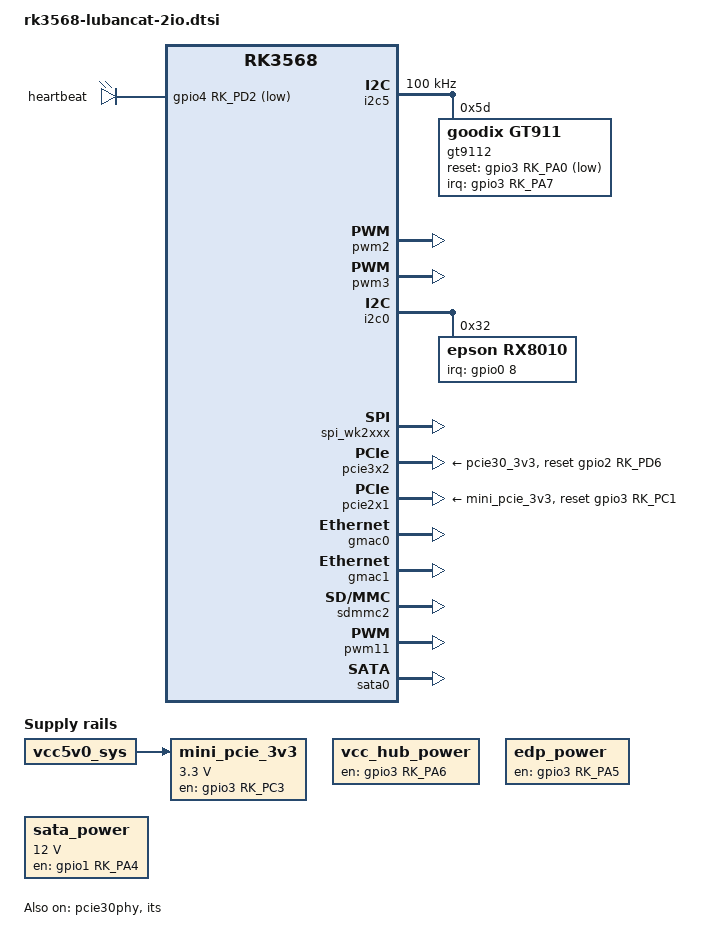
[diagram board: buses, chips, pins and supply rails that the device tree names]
// SPDX-License-Identifier: (GPL-2.0+ OR MIT)
/*
 * Copyright (c) 2020 Rockchip Electronics Co., Ltd.
 *
 */

#include "rk3568-lubancat-2m-port.dtsi"
#include "rk3568-lubancat-2io-cam.dtsi"

/ {

	vcc_hub_power: vcc-hub-power-regulator {
		compatible = "regulator-fixed";
		enable-active-high;
		gpio = <&gpio3 RK_PA6 GPIO_ACTIVE_HIGH>;
		pinctrl-names = "default";
		pinctrl-0 = <&vcc_hub_power_en>;
		regulator-name = "vcc_hub_power_en";
		regulator-always-on;
	};

	edp_power: edp-power-regulator {
		compatible = "regulator-fixed";
		enable-active-high;
		gpio = <&gpio3 RK_PA5 GPIO_ACTIVE_HIGH>;
		pinctrl-names = "default";
		pinctrl-0 = <&edp_pwr_en>;
		regulator-name = "edp_power";
		regulator-always-on;
	};

	sata_power: sata-power-regulator {
		compatible = "regulator-fixed";
		regulator-name = "sata_power";
		regulator-min-microvolt = <12000000>;
		regulator-max-microvolt = <12000000>;
		gpio = <&gpio1 RK_PA4 GPIO_ACTIVE_HIGH>;
		enable-active-high;
		regulator-boot-on;
		pinctrl-names = "default";
		pinctrl-0 = <&sata_pwr_en>;
	};

	mini_pcie_3v3: mini-pcie-3v3-regulator {
		compatible = "regulator-fixed";
		regulator-name = "minipcie_3v3";
		regulator-min-microvolt = <3300000>;
		regulator-max-microvolt = <3300000>;
		enable-active-high;
		regulator-always-on;
		gpio = <&gpio3 RK_PC3 GPIO_ACTIVE_HIGH>;
		startup-delay-us = <5000>;
		vin-supply = <&vcc5v0_sys>;
	};

	leds: leds {
		status = "okay";
		compatible = "gpio-leds";

		led0: led0 {
			label = "heartbeat";
			linux,default-trigger = "heartbeat";
			default-state = "on";
			gpios = <&gpio4 RK_PD2 GPIO_ACTIVE_LOW>;
			pinctrl-names = "default";
			pinctrl-0 = <&led0_pin>;
		};
	};

};

&i2c5 {
	status = "okay";
	clock-frequency = <100000>;

	gt9112: gt9112@5d {
		status = "okay";
		compatible = "goodix,gt911";
		reg = <0x5d>;
		interrupt-parent = <&gpio3>;
		interrupts = <RK_PA7 IRQ_TYPE_LEVEL_LOW>;
		reset-gpios = <&gpio3 RK_PA0 GPIO_ACTIVE_LOW>;
		irq-gpios = <&gpio3 RK_PA7 GPIO_ACTIVE_HIGH>;
		touchscreen-inverted-x = <1>;
		touchscreen-inverted-y = <1>;
	};		
};

&xin32k {
	status = "disabled";
};

&pwm2 {
	status = "okay";
};

&pwm3 {
	status = "okay";

	compatible = "rockchip,remotectl-pwm";
	interrupts = <GIC_SPI 82 IRQ_TYPE_LEVEL_HIGH>;
	remote_pwm_id = <3>;
	handle_cpu_id = <1>;
	remote_support_psci = <0>;
	pinctrl-names = "default";
	pinctrl-0 = <&pwm3_pins>;

	ir_key_lubancat{
		rockchip,usercode = <0x909>;
		rockchip,key_table =
			<0xf4   KEY_POWER>,
			<0xe6   KEY_SLEEP>,
			<0xe4   KEY_WAKEUP>,
			<0xed   KEY_VOLUMEUP>,
			<0xec   KEY_VOLUMEDOWN>,
			<0xef   KEY_UP>,
			<0xee   KEY_DOWN>;
	};

	ir_key1 {
		rockchip,usercode = <0x4040>;
		rockchip,key_table =
			<0xf2	KEY_REPLY>,
			<0xba	KEY_BACK>,
			<0xf4	KEY_UP>,
			<0xf1	KEY_DOWN>,
			<0xef	KEY_LEFT>,
			<0xee	KEY_RIGHT>,
			<0xbd	KEY_HOME>,
			<0xea	KEY_VOLUMEUP>,
			<0xe3	KEY_VOLUMEDOWN>,
			<0xe2	KEY_SEARCH>,
			<0xb2	KEY_POWER>,
			<0xbc	KEY_MUTE>,
			<0xec	KEY_MENU>,
			<0xbf	0x190>,
			<0xe0	0x191>,
			<0xe1	0x192>,
			<0xe9	183>,
			<0xe6	248>,
			<0xe8	185>,
			<0xe7	186>,
			<0xf0	388>,
			<0xbe	0x175>;
	};

	ir_key2 {
		rockchip,usercode = <0xff00>;
		rockchip,key_table =
			<0xf9	KEY_HOME>,
			<0xbf	KEY_BACK>,
			<0xfb	KEY_MENU>,
			<0xaa	KEY_REPLY>,
			<0xb9	KEY_UP>,
			<0xe9	KEY_DOWN>,
			<0xb8	KEY_LEFT>,
			<0xea	KEY_RIGHT>,
			<0xeb	KEY_VOLUMEDOWN>,
			<0xef	KEY_VOLUMEUP>,
			<0xf7	KEY_MUTE>,
			<0xe7	KEY_POWER>,
			<0xfc	KEY_POWER>,
			<0xa9	KEY_VOLUMEDOWN>,
			<0xa8	KEY_VOLUMEDOWN>,
			<0xe0	KEY_VOLUMEDOWN>,
			<0xa5	KEY_VOLUMEDOWN>,
			<0xab	183>,
			<0xb7	388>,
			<0xe8	388>,
			<0xf8	184>,
			<0xaf	185>,
			<0xed	KEY_VOLUMEDOWN>,
			<0xee	186>,
			<0xb3	KEY_VOLUMEDOWN>,
			<0xf1	KEY_VOLUMEDOWN>,
			<0xf2	KEY_VOLUMEDOWN>,
			<0xf3	KEY_SEARCH>,
			<0xb4	KEY_VOLUMEDOWN>,
			<0xbe	KEY_SEARCH>;
	};

	ir_key3 {
		rockchip,usercode = <0x1dcc>;
		rockchip,key_table =
			<0xee	KEY_REPLY>,
			<0xf0	KEY_BACK>,
			<0xf8	KEY_UP>,
			<0xbb	KEY_DOWN>,
			<0xef	KEY_LEFT>,
			<0xed	KEY_RIGHT>,
			<0xfc	KEY_HOME>,
			<0xf1	KEY_VOLUMEUP>,
			<0xfd	KEY_VOLUMEDOWN>,
			<0xb7	KEY_SEARCH>,
			<0xff	KEY_POWER>,
			<0xf3	KEY_MUTE>,
			<0xbf	KEY_MENU>,
			<0xf9	0x191>,
			<0xf5	0x192>,
			<0xb3	388>,
			<0xbe	KEY_1>,
			<0xba	KEY_2>,
			<0xb2	KEY_3>,
			<0xbd	KEY_4>,
			<0xf9	KEY_5>,
			<0xb1	KEY_6>,
			<0xfc	KEY_7>,
			<0xf8	KEY_8>,
			<0xb0	KEY_9>,
			<0xb6	KEY_0>,
			<0xb5	KEY_BACKSPACE>;
	};
};

&i2c0 {
		rx8010: rx8010@32 {
			compatible = "epson,rx8010";
			reg = <0x32>;
			pinctrl-0 = <&rx8010_irq>;
			interrupt-parent = <&gpio0>;
			interrupts = <8 IRQ_TYPE_LEVEL_LOW>;
			status = "okay";
		};
};

&spi1 {
	status = "disabled";
};

&spi_wk2xxx {
	status = "okay";
};

&pcie30phy {
	   status = "okay";
};

&pcie3x2 {
		reset-gpios = <&gpio2 RK_PD6 GPIO_ACTIVE_HIGH>;
		vpcie3v3-supply = <&pcie30_3v3>;

	   status = "okay";
};

/* mini pcie */
&pcie2x1 {
	reset-gpios = <&gpio3 RK_PC1 GPIO_ACTIVE_HIGH>;
	disable-gpios = <&gpio3 RK_PC2 GPIO_ACTIVE_HIGH>;
	vpcie3v3-supply = <&mini_pcie_3v3>;
	status = "okay";
};

&its {
	status = "okay";
};

&gmac0 {
	status = "okay";
};

&gmac1 {
	status = "okay";
};

&rgmii_phy0 {
	led_status_value = <0x6940>;
};

&rgmii_phy1 {
	led_status_value = <0x6940>;
};


&sdmmc2 {
	status = "okay";
	max-frequency = <100000000>;
};


&spdif_8ch{
	status = "disabled";
};

&rk809_codec {
	hp-ctl-gpios = <&gpio0 RK_PB5 GPIO_ACTIVE_HIGH>;
};

&rk809 {
	rtc {
		status = "disabled";
	};
};

&pwm11 {
	status = "okay";
	pinctrl-0 = <&pwm11m1_pins>;
};

&sata0 {
	target-supply = <&sata_power>;
	status = "okay";
};

&pinctrl {

	usb {
		vcc_hub_power_en: vcc-hub-power-en {
			rockchip,pins = <3 RK_PA6 RK_FUNC_GPIO &pcfg_pull_none>;
		};
	};

	rx8010 {
		rx8010_irq: rx8010-irq {
				rockchip,pins = <0 RK_PB2 RK_FUNC_GPIO &pcfg_pull_none>;
		};
	};

	sata {
		sata_pwr_en: sata-pwr-en {
			rockchip,pins = <1 RK_PA4 RK_FUNC_GPIO &pcfg_pull_none>;
		};
	};

	edp {
		edp_pwr_en: edp-pwr-en {
			rockchip,pins = <3 RK_PA5 RK_FUNC_GPIO &pcfg_pull_none>;
		};
	};

	leds {
		led0_pin: led0-pin {
			rockchip,pins = <4 RK_PD2 RK_FUNC_GPIO &pcfg_pull_none>;
		};
	};
};
